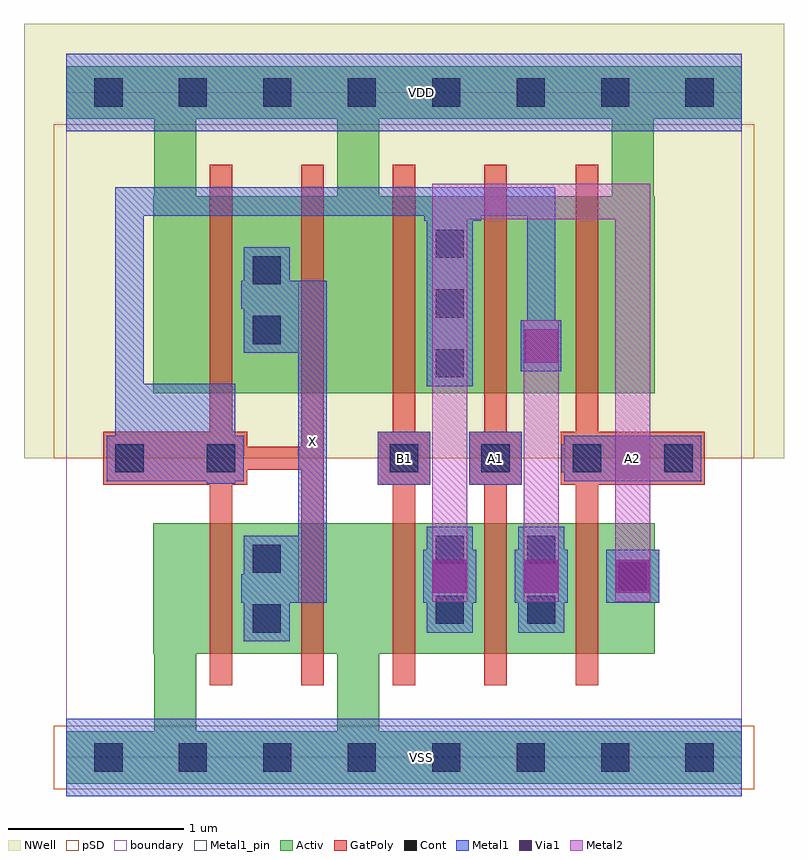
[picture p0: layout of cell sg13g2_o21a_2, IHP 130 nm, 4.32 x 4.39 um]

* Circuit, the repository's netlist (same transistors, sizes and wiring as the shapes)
.SUBCKT sg13g2_o21a_2 X A1 A2 B1 VDD VSS
*.PININFO A1:I A2:I B1:I X:O VDD:B VSS:B
MN0 net1 A1 net2 VSS sg13_lv_nmos w=740.00n l=130.00n ng=1
MN1 net1 A2 net2 VSS sg13_lv_nmos w=740.00n l=130.00n ng=1
MN2 net2 B1 VSS VSS sg13_lv_nmos w=740.00n l=130.00n ng=1
MP0 net1 A1 net3 VDD sg13_lv_pmos w=1.12u l=130.00n ng=1
MP1 net3 A2 VDD VDD sg13_lv_pmos w=1.12u l=130.00n ng=1
MP2 net1 B1 VDD VDD sg13_lv_pmos w=1.12u l=130.00n ng=1
MN3 X net1 VSS VSS sg13_lv_nmos w=1.48u l=130.00n ng=2
MP3 X net1 VDD VDD sg13_lv_pmos w=2.24u l=130.00n ng=2
.ENDS

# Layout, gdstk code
import gdstk
lib = gdstk.Library(unit=1e-6, precision=1e-09)
def R(c, l, rs):  # rectangles x0, y0, x1, y1
    for r in rs: c.add(gdstk.rectangle(r[:2], r[2:], *l))
def A(c, l, x, y, w, h, nx, ny, dx, dy):  # array of equal rectangles
    R(c, l, [(x+i*dx, y+j*dy, x+i*dx+w, y+j*dy+h) for i in range(nx) for j in range(ny)])
def P(c, l, *ps):  # polygons
    for p in ps: c.add(gdstk.Polygon(p, *l))
Activ = (1, 0)
GatPoly = (5, 0)
Cont = (6, 0)
Metal1 = (8, 0)
Metal1_pin = (8, 2)
Metal2 = (10, 0)
pSD = (14, 0)
Via1 = (19, 0)
NWell = (31, 0)
boundary = (189, 4)

sg13g2_o21a_2 = lib.new_cell('sg13g2_o21a_2')
P(sg13g2_o21a_2, Activ, [(0.5,0.15),(0,0.15),(0,-0.15),(3.84,-0.15),(3.84,0.15),(0.5,0.15),(0.74,0.15),(0.74,0.59),(1.54,0.59),(1.54,0.15),(1.78,0.15),(1.78,0.59),(3.345,0.59),(3.345,0.88),(3.37,0.88),(3.37,1.18),(3.345,1.18),(3.345,1.33),(0.495,1.33),(0.495,0.59),(0.5,0.59)],
  [(0.5,3.19),(0.74,3.19),(0.74,3.63),(1.54,3.63),(1.54,3.19),(1.78,3.19),(1.78,3.63),(3.1,3.63),(3.1,3.19),(3.34,3.19),(3.34,3.63),(3.84,3.63),(3.84,3.93),(0,3.93),(0,3.63),(0.5,3.63),(0.5,3.19),(0.495,3.19),(0.495,2.07),(3.345,2.07),(3.345,3.19)])
P(sg13g2_o21a_2, GatPoly, [(0.21,1.55),(0.815,1.55),(0.815,0.41),(0.945,0.41),(0.945,1.55),(1.03,1.55),(1.03,1.635),(1.335,1.635),(1.335,0.41),(1.465,0.41),(1.465,3.37),(1.335,3.37),(1.335,1.765),(1.03,1.765),(1.03,1.85),(0.945,1.85),(0.945,3.37),(0.815,3.37),(0.815,1.85),(0.21,1.85)],
  [(1.77,1.55),(1.855,1.55),(1.855,0.41),(1.985,0.41),(1.985,1.55),(2.07,1.55),(2.07,1.85),(1.985,1.85),(1.985,3.37),(1.855,3.37),(1.855,1.85),(1.77,1.85)],
  [(2.29,1.55),(2.375,1.55),(2.375,0.41),(2.505,0.41),(2.505,1.55),(2.59,1.55),(2.59,1.85),(2.505,1.85),(2.505,3.37),(2.375,3.37),(2.375,1.85),(2.29,1.85)],
  [(2.81,1.55),(2.895,1.55),(2.895,0.41),(3.025,0.41),(3.025,1.55),(3.63,1.55),(3.63,1.85),(3.025,1.85),(3.025,3.37),(2.895,3.37),(2.895,1.85),(2.81,1.85)])
A(sg13g2_o21a_2, Cont, 0.16, -0.08, 0.16, 0.16, 8, 2, 0.48, 3.78)
A(sg13g2_o21a_2, Cont, 1.84, 1.62, 0.16, 0.16, 4, 1, 0.52, 0)
A(sg13g2_o21a_2, Cont, 2.1, 2.16, 0.16, 0.16, 1, 3, 0, 0.34)
R(sg13g2_o21a_2, Cont, [(1.06,0.71,1.22,0.87), (2.1,0.76,2.26,0.92), (2.62,0.76,2.78,0.92), (3.14,0.95,3.3,1.11), (1.06,1.05,1.22,1.21), (2.1,1.1,2.26,1.26), (2.62,1.1,2.78,1.26), (0.28,1.62,0.44,1.78), (0.8,1.62,0.96,1.78), (1.06,2.35,1.22,2.51), (1.06,2.69,1.22,2.85)])
R(sg13g2_o21a_2, Metal1, [(0,-0.22,3.84,0.22), (3.07,0.88,3.37,1.18), (1.77,1.55,2.07,1.85), (2.29,1.55,2.59,1.85), (0,3.56,3.84,4)])
P(sg13g2_o21a_2, Metal1, [(0.23,1.57),(0.8,1.57),(0.8,1.555),(0.96,1.555),(0.96,1.57),(1.01,1.57),(1.01,1.83),(0.96,1.83),(0.96,2.125),(0.44,2.125),(0.44,3.08),(2.035,3.08),(2.035,3.05),(2.05,3.05),(2.05,2.11),(2.31,2.11),(2.31,3.05),(2.36,3.05),(2.36,3.08),(2.62,3.08),(2.62,2.485),(2.585,2.485),(2.585,2.195),(2.815,2.195),(2.815,2.485),(2.78,2.485),(2.78,3.24),(0.28,3.24),(0.28,1.83),(0.23,1.83)],
  [(0.995,0.88),(1.01,0.88),(1.01,0.66),(1.27,0.66),(1.27,0.88),(1.48,0.88),(1.48,2.71),(1.27,2.71),(1.27,2.9),(1.01,2.9),(1.01,2.71),(0.995,2.71),(0.995,2.55),(1.01,2.55),(1.01,2.3),(1.32,2.3),(1.32,1.26),(1.01,1.26),(1.01,1.04),(0.995,1.04)],
  [(2.03,0.88),(2.05,0.88),(2.05,0.71),(2.31,0.71),(2.31,0.88),(2.33,0.88),(2.33,1.18),(2.31,1.18),(2.31,1.31),(2.05,1.31),(2.05,1.18),(2.03,1.18)],
  [(2.55,0.88),(2.57,0.88),(2.57,0.71),(2.83,0.71),(2.83,0.88),(2.85,0.88),(2.85,1.18),(2.83,1.18),(2.83,1.31),(2.57,1.31),(2.57,1.18),(2.55,1.18)],
  [(2.815,1.62),(2.83,1.62),(2.83,1.57),(3.61,1.57),(3.61,1.83),(2.83,1.83),(2.83,1.78),(2.815,1.78)])
R(sg13g2_o21a_2, Metal1_pin, [(0,-0.22,3.84,0.22), (1.32,0.88,1.48,2.71), (1.77,1.55,2.07,1.85), (2.29,1.55,2.59,1.85), (2.83,1.57,3.61,1.83), (0,3.56,3.84,4)])
R(sg13g2_o21a_2, Metal2, [(2.6,0.885,2.8,2.485)])
P(sg13g2_o21a_2, Metal2, [(2.08,0.885),(2.28,0.885),(2.28,3.06),(3.12,3.06),(3.12,0.885),(3.32,0.885),(3.32,3.26),(2.08,3.26)])
R(sg13g2_o21a_2, pSD, [(-0.07,-0.18,3.91,0.18), (-0.07,1.7,3.91,3.6)])
A(sg13g2_o21a_2, Via1, 2.085, 0.935, 0.19, 0.19, 3, 1, 0.52, 0)
R(sg13g2_o21a_2, Via1, [(2.605,2.245,2.795,2.435)])
R(sg13g2_o21a_2, NWell, [(-0.24,1.7,4.08,4.17)])
R(sg13g2_o21a_2, boundary, [(0,0,3.84,3.78)])
sg13g2_o21a_2.add(gdstk.Label('X', (1.4,1.795), layer=8, texttype=25))
sg13g2_o21a_2.add(gdstk.Label('B1', (1.92,1.7), layer=8, texttype=25))
sg13g2_o21a_2.add(gdstk.Label('A1', (2.44,1.7), layer=8, texttype=25))
sg13g2_o21a_2.add(gdstk.Label('A2', (3.22,1.7), layer=8, texttype=25))
sg13g2_o21a_2.add(gdstk.Label('VSS', (2.02,0), layer=8, texttype=25))
sg13g2_o21a_2.add(gdstk.Label('VDD', (2.02,3.78), layer=8, texttype=25))

lib.write_gds('sg13g2_o21a_2.gds')
